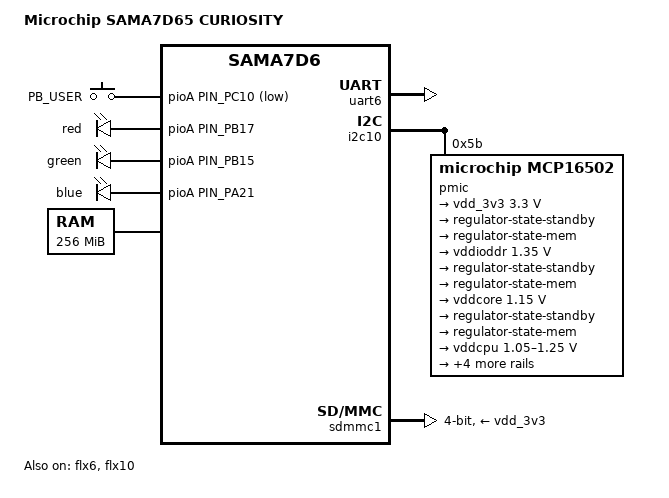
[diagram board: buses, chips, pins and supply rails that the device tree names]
// SPDX-License-Identifier: (GPL-2.0+ OR MIT)
/*
 *  at91-sama7d65_curiosity.dts - Device Tree file for SAMA7D65 Curiosity board
 *
 *  Copyright (c) 2024 Microchip Technology Inc. and its subsidiaries
 *
 *  Author: Romain Sioen <romain.sioen@microchip.com>
 *
 */
/dts-v1/;
#include "sama7d65-pinfunc.h"
#include "sama7d65.dtsi"
#include <dt-bindings/mfd/atmel-flexcom.h>
#include <dt-bindings/input/input.h>
#include <dt-bindings/pinctrl/at91.h>
#include <dt-bindings/sound/microchip,pdmc.h>

/ {
	model = "Microchip SAMA7D65 CURIOSITY";
	compatible = "microchip,sama7d65-curiosity", "microchip,sama7d65", "microchip,sama7d6", "microchip,sama7";

	chosen {

		bootargs = "rw root=/dev/mmcblk0p2 rootfstype=ext4 rootwait";
		stdout-path = "serial0:115200n8";
	};

	aliases {
		serial0 = &uart6;
		i2c1 = &i2c10;
	};

	gpio-keys {
		compatible = "gpio-keys";

		pinctrl-names = "default";
		pinctrl-0 = <&pinctrl_key_gpio_default>;

		button {
			label = "PB_USER";
			gpios = <&pioA PIN_PC10 GPIO_ACTIVE_LOW>;
			linux,code = <KEY_PROG1>;
			wakeup-source;
		};
	};

	leds {
		compatible = "gpio-leds";
		pinctrl-names = "default";
		pinctrl-0 = <&pinctrl_led_gpio_default>;

		led-red {
			label = "red";
			gpios = <&pioA PIN_PB17 GPIO_ACTIVE_HIGH>; /* Conflict with pwm. */
		};

		led-green {
			label = "green";
			gpios = <&pioA PIN_PB15 GPIO_ACTIVE_HIGH>; /* Conflict with pwm. */
		};

		led-blue {
			label = "blue";
			gpios = <&pioA PIN_PA21 GPIO_ACTIVE_HIGH>;
			linux,default-trigger = "heartbeat";
		};
	};

	memory@60000000 {
		device_type = "memory";
		reg = <0x60000000 0x10000000>;
	};
};

&cpu0 {
	cpu-supply = <&vddcpu>;
};

&dma0 {
	status = "okay";
};

&dma1 {
	status = "okay";
};

&flx6 {
	atmel,flexcom-mode = <ATMEL_FLEXCOM_MODE_USART>;
	status = "okay";
};

&uart6 {
	pinctrl-names = "default";
	pinctrl-0 = <&pinctrl_uart6_default>;
	status = "okay";
};

&flx10 {
	atmel,flexcom-mode = <ATMEL_FLEXCOM_MODE_TWI>;
	status = "okay";
};

&i2c10 {
	pinctrl-names = "default";
	pinctrl-0 = <&pinctrl_i2c10_default>;
	i2c-analog-filter;
	i2c-digital-filter;
	i2c-digital-filter-width-ns = <35>;
	status = "okay";

	pmic@5b {
		compatible = "microchip,mcp16502";
		reg = <0x5b>;

		regulators {
			vdd_3v3: VDD_IO {
				regulator-name = "VDD_IO";
				regulator-min-microvolt = <3300000>;
				regulator-max-microvolt = <3300000>;
				regulator-initial-mode = <2>;
				regulator-allowed-modes = <2>, <4>;
				regulator-always-on;

				regulator-state-standby {
					regulator-on-in-suspend;
					regulator-suspend-microvolt = <3300000>;
					regulator-mode = <4>;
				};

				regulator-state-mem {
					regulator-off-in-suspend;
					regulator-mode = <4>;
				};
			};

			vddioddr: VDD_DDR {
				regulator-name = "VDD_DDR";
				regulator-min-microvolt = <1350000>;
				regulator-max-microvolt = <1350000>;
				regulator-initial-mode = <2>;
				regulator-allowed-modes = <2>, <4>;
				regulator-always-on;

				regulator-state-standby {
					regulator-on-in-suspend;
					regulator-suspend-microvolt = <1350000>;
					regulator-mode = <4>;
				};

				regulator-state-mem {
					regulator-on-in-suspend;
					regulator-suspend-microvolt = <1350000>;
					regulator-mode = <4>;
				};
			};

			vddcore: VDD_CORE {
				regulator-name = "VDD_CORE";
				regulator-min-microvolt = <1150000>;
				regulator-max-microvolt = <1150000>;
				regulator-initial-mode = <2>;
				regulator-allowed-modes = <2>, <4>;
				regulator-always-on;

				regulator-state-standby {
					regulator-on-in-suspend;
					regulator-suspend-voltage = <1150000>;
					regulator-mode = <4>;
				};

				regulator-state-mem {
					regulator-off-in-suspend;
					regulator-mode = <4>;
				};
			};

			vddcpu: VDD_OTHER {
				regulator-name = "VDD_OTHER";
				regulator-min-microvolt = <1050000>;
				regulator-max-microvolt = <1250000>;
				regulator-initial-mode = <2>;
				regulator-allowed-modes = <2>, <4>;
				regulator-ramp-delay = <3125>;
				regulator-always-on;

				regulator-state-standby {
					regulator-on-in-suspend;
					regulator-suspend-voltage = <1050000>;
					regulator-mode = <4>;
				};

				regulator-state-mem {
					regulator-off-in-suspend;
					regulator-mode = <4>;
				};
			};

			vldo1: LDO1 {
				regulator-name = "LDO1";
				regulator-min-microvolt = <1800000>;
				regulator-max-microvolt = <1800000>;
				regulator-always-on;

				regulator-state-standby {
					regulator-suspend-voltage = <1800000>;
					regulator-on-in-suspend;
				};

				regulator-state-mem {
					regulator-off-in-suspend;
				};
			};

			vldo2: LDO2 {
				regulator-name = "LDO2";
				regulator-min-microvolt = <1200000>;
				regulator-max-microvolt = <3700000>;

				regulator-state-standby {
					regulator-suspend-voltage = <1800000>;
					regulator-on-in-suspend;
				};

				regulator-state-mem {
					regulator-off-in-suspend;
				};
			};
		};
	};
};

&main_xtal {
	clock-frequency = <24000000>;
};

&pioA {
	pinctrl_led_gpio_default: led-gpio-default {
		pinmux = <PIN_PB15__GPIO>,
			 <PIN_PB17__GPIO>,
			 <PIN_PA21__GPIO>;
		bias-pull-up;
	};

	pinctrl_i2c10_default: i2c10-default{
		pinmux = <PIN_PB19__FLEXCOM10_IO1>,
			 <PIN_PB20__FLEXCOM10_IO0>;
		bias-disable;
	};

	pinctrl_key_gpio_default: key-gpio-default {
		pinmux = <PIN_PC10__GPIO>;
		bias-pull-up;
	};

	pinctrl_sdmmc1_default: sdmmc1-default {
		cmd-data {
			pinmux = <PIN_PB22__SDMMC1_CMD>,
				 <PIN_PB24__SDMMC1_DAT0>,
				 <PIN_PB25__SDMMC1_DAT1>,
				 <PIN_PB26__SDMMC1_DAT2>,
				 <PIN_PB27__SDMMC1_DAT3>;
			slew-rate = <0>;
			bias-disable;
		};

		ck-cd-rstn-vddsel {
			pinmux = <PIN_PB23__SDMMC1_CK>,
				 <PIN_PB21__SDMMC1_RSTN>,
				 <PIN_PB30__SDMMC1_1V8SEL>,
				 <PIN_PB29__SDMMC1_CD>,
				 <PIN_PB28__SDMMC1_WP>;
			slew-rate = <0>;
			bias-disable;
		};
	};

	pinctrl_uart6_default: uart6-default {
		pinmux = <PIN_PD18__FLEXCOM6_IO0>,
			<PIN_PD19__FLEXCOM6_IO1>;
		bias-disable;
	};
};

&rtt {
	atmel,rtt-rtc-time-reg = <&gpbr 0x0>;
	status = "disabled";
};

&sdmmc1 {
	bus-width = <4>;
	vmmc-supply = <&vdd_3v3>;
	vqmmc-supply = <&vdd_3v3>;
	pinctrl-names = "default";
	pinctrl-0 = <&pinctrl_sdmmc1_default>;
	status = "okay";
};

&slow_xtal {
	clock-frequency = <32768>;
};

&vddout25 {
	vin-supply = <&vdd_3v3>;
	status = "okay";
};
